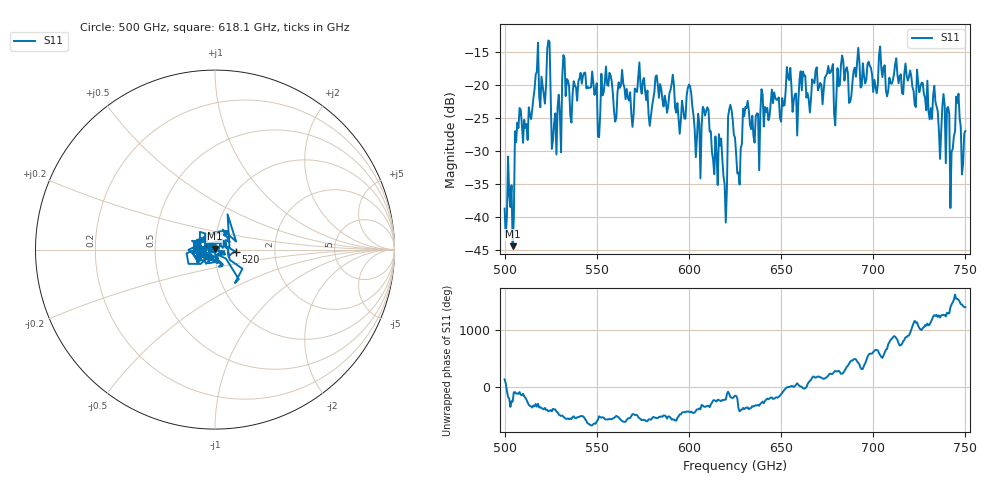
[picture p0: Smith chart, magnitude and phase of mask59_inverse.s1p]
!Created with skrf (http://scikit-rf.org).
# GHz S MA R 50.0
!freq magS11 angS11
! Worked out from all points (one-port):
!   401 points, 500 GHz to 750 GHz, reference 50 ohm
!   lowest |S11| = -44.4 dB at 504.4 GHz (marker M1), VSWR 1.01, Z = 49.8 + j0.567 ohm
!   |S11| at or under -10 dB: start of sweep to end of sweep
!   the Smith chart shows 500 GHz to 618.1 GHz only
!   S11 on the Smith chart (normalised r, x): 500 GHz: 0.98, +0.02; 520 GHz: 1.26, -0.03; 618.1 GHz: 0.96, +0.04
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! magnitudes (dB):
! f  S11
! 500 GHz  -38.7
! 504.4 GHz  -44.4
! 507.5 GHz  -26.5
! 520 GHz  -18.8
! 523.8 GHz  -13.3
! 526.9 GHz  -25.7
! 531.2 GHz  -19.0
! 562.5 GHz  -20.5
! 579.4 GHz  -24.8
! 590.6 GHz  -19.9
! 593.8 GHz  -22.8
! 600 GHz  -20.0
! 605 GHz  -24.4
! 609.4 GHz  -23.9
! 618.1 GHz  -31.2
! 619.4 GHz  -35.0
! 622.5 GHz  -23.0
! 625 GHz  -28.0
! 627.5 GHz  -35.1
! 630.6 GHz  -23.3
! 636.9 GHz  -24.3
! 656.2 GHz  -24.1
! 687.5 GHz  -22.6
! 718.8 GHz  -19.4
! 739.4 GHz  -31.9
! 743.1 GHz  -29.7
! 745.6 GHz  -22.7
! 750 GHz  -27.0
